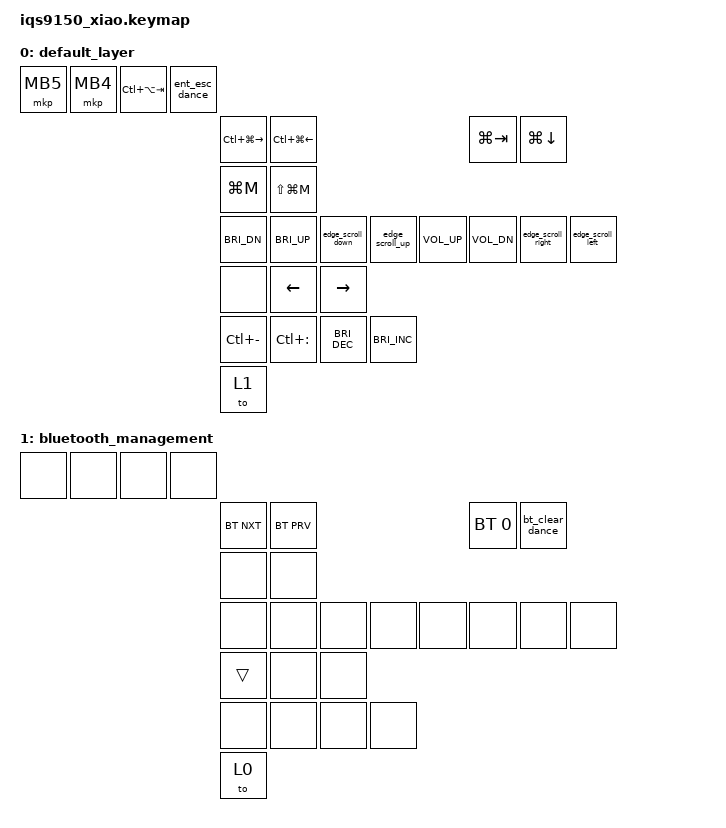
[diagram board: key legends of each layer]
#include <behaviors.dtsi>
#include <dt-bindings/zmk/input_transform.h>
#include <dt-bindings/zmk/keys.h>
#include <dt-bindings/zmk/pointing.h>
#include <dt-bindings/zmk/bt.h>

/ {
    behaviors {
        ent_esc_dance: ent_esc_dance {
            compatible = "zmk,behavior-tap-dance";
            #binding-cells = <0>;
            tapping-term-ms = <800>;
            bindings = <&kp RET>, <&kp ESC>;
        };
        bt_clear_dance: bt_clear_dance {
            compatible = "zmk,behavior-tap-dance";
            #binding-cells = <0>;
            /* Two separate down swipes; single swipe never clears pairing.
             * 2回の独立した下スワイプのみ消去。単発は何もしない。 */
            tapping-term-ms = <1500>;
            bindings = <&none>, <&bt BT_CLR>;
        };
        /* The edge dial emits an instantaneous virtual KSCAN tap. &msc is a
         * held input behavior, therefore each macro holds it long enough for
         * one wheel report. MOVE_* values are deliberately used instead of
         * SCRL_*: the larger velocity yields a reliable single step from this
         * short virtual press.
         *
         * エッジダイヤルは仮想KSCANの瞬時タップを出力する。一方&mscは押下中に
         * レポートするBehaviorなので、各マクロがホイール1回分だけ保持する。
         * この短い仮想押下でも確実に動作するよう、SCRL_*ではなくより大きい
         * MOVE_*値を使用する。 */
        edge_scroll_up: edge_scroll_up {
            compatible = "zmk,behavior-macro";
            #binding-cells = <0>;
            wait-ms = <24>;
            bindings = <&macro_press &msc MOVE_Y(1200)>,
                       <&macro_release &msc MOVE_Y(1200)>;
        };

        edge_scroll_down: edge_scroll_down {
            compatible = "zmk,behavior-macro";
            #binding-cells = <0>;
            wait-ms = <24>;
            bindings = <&macro_press &msc MOVE_Y(-1200)>,
                       <&macro_release &msc MOVE_Y(-1200)>;
        };

        edge_scroll_right: edge_scroll_right {
            compatible = "zmk,behavior-macro";
            #binding-cells = <0>;
            wait-ms = <24>;
            bindings = <&macro_press &msc MOVE_X(1200)>,
                       <&macro_release &msc MOVE_X(1200)>;
        };

        edge_scroll_left: edge_scroll_left {
            compatible = "zmk,behavior-macro";
            #binding-cells = <0>;
            wait-ms = <24>;
            bindings = <&macro_press &msc MOVE_X(-1200)>,
                       <&macro_release &msc MOVE_X(-1200)>;
        };
    };

    keymap {
        compatible = "zmk,keymap";

        default_layer {
            /* Full input integration bindings / 全入力結合試験用の割当
             * 3/4/5本指はWindows操作、4辺は連続操作へ割り当てる。
             * Map 3/4/5-finger gestures to Windows actions and all edges to
             * continuous host operations.
             *
             * 3F: Mouse Back / Forward / PageUp / PageDown
             * 4F: Win+Left / Right / Up / Down
             * 5F: Win+M / Win+Shift+M
             * Edge: left brightness down/up, right scroll down/up,
             *       top volume up/down, bottom scroll right/left.
             * Transform: pinch in/out = Ctrl+-/Ctrl+= (zoom out/in),
             *            counter-clockwise/clockwise = F15/F16.
             * Tip-Tap: anchor hold / left / right = none / Left / Right.
             * Tip-Tapはanchor保持なし／左矢印／右矢印を割り当てる。 */
            bindings = <&mkp MB5          &mkp MB4          &kp LC(LA(TAB)) &ent_esc_dance
                        &kp LC(LG(RIGHT)) &kp LC(LG(LEFT))  &kp LG(TAB)      &kp LG(DOWN)
                        &kp LG(M)         &kp LS(LG(M))
                        &kp C_BRI_DN      &kp C_BRI_UP      &edge_scroll_down &edge_scroll_up
                        &kp C_VOL_UP      &kp C_VOL_DN      &edge_scroll_right &edge_scroll_left
                        &none         &kp LEFT      &kp RIGHT
                        &kp LC(MINUS)     &kp LC(COLON)     &kp C_BRI_DEC         &kp C_BRI_INC
                        &to 1>;
        };
        bluetooth_management {
            /* Stay in management after selection/clear; hold again to exit.
             * 選択・消去後も管理を維持。再度4本指ホールドで終了。 */
            bindings = <&none &none &none &none
                        &bt BT_NXT &bt BT_PRV &bt BT_SEL 0 &bt_clear_dance
                        &none &none
                        &none &none &none &none &none &none &none &none
                        &trans &none &none
                        &none &none &none &none
                        &to 0>;
        };
    };
};

/* Keyboard-level two-finger scroll tuning / キーボード側の2本指スクロール調整
 * The current tuning listener chain is <&zip_scroll_scaler 1 4>. To customise it,
 * uncomment this block and choose the transform flags and multiplier below.
 * The processor handles only REL_WHEEL/HWHEEL: 1F pointer movement is unchanged.
 *
 * 現在の調整listener chainは <&zip_scroll_scaler 1 4> である。調整する場合は下の
 * blockを有効化し、反転flagと倍率を選ぶ。processorの対象はREL_WHEEL/HWHEELだけで、
 * 1本指ポインタ移動は変化しない。
 *
 * INPUT_TRANSFORM_Y_INVERT: vertical / 縦反転
 * INPUT_TRANSFORM_X_INVERT: horizontal / 横反転
 * scaler <1 2>: twice as fast / 現在の2倍速
 * scaler <1 8>: half as fast / 現在の半速 */

&iqs9150_pointer_listener {
    input-processors
        = <&zip_xy_scaler 4 5>
        , <&zip_scroll_transform INPUT_TRANSFORM_X_INVERT>
        , <&zip_scroll_scaler 1 3>
        ;
};
